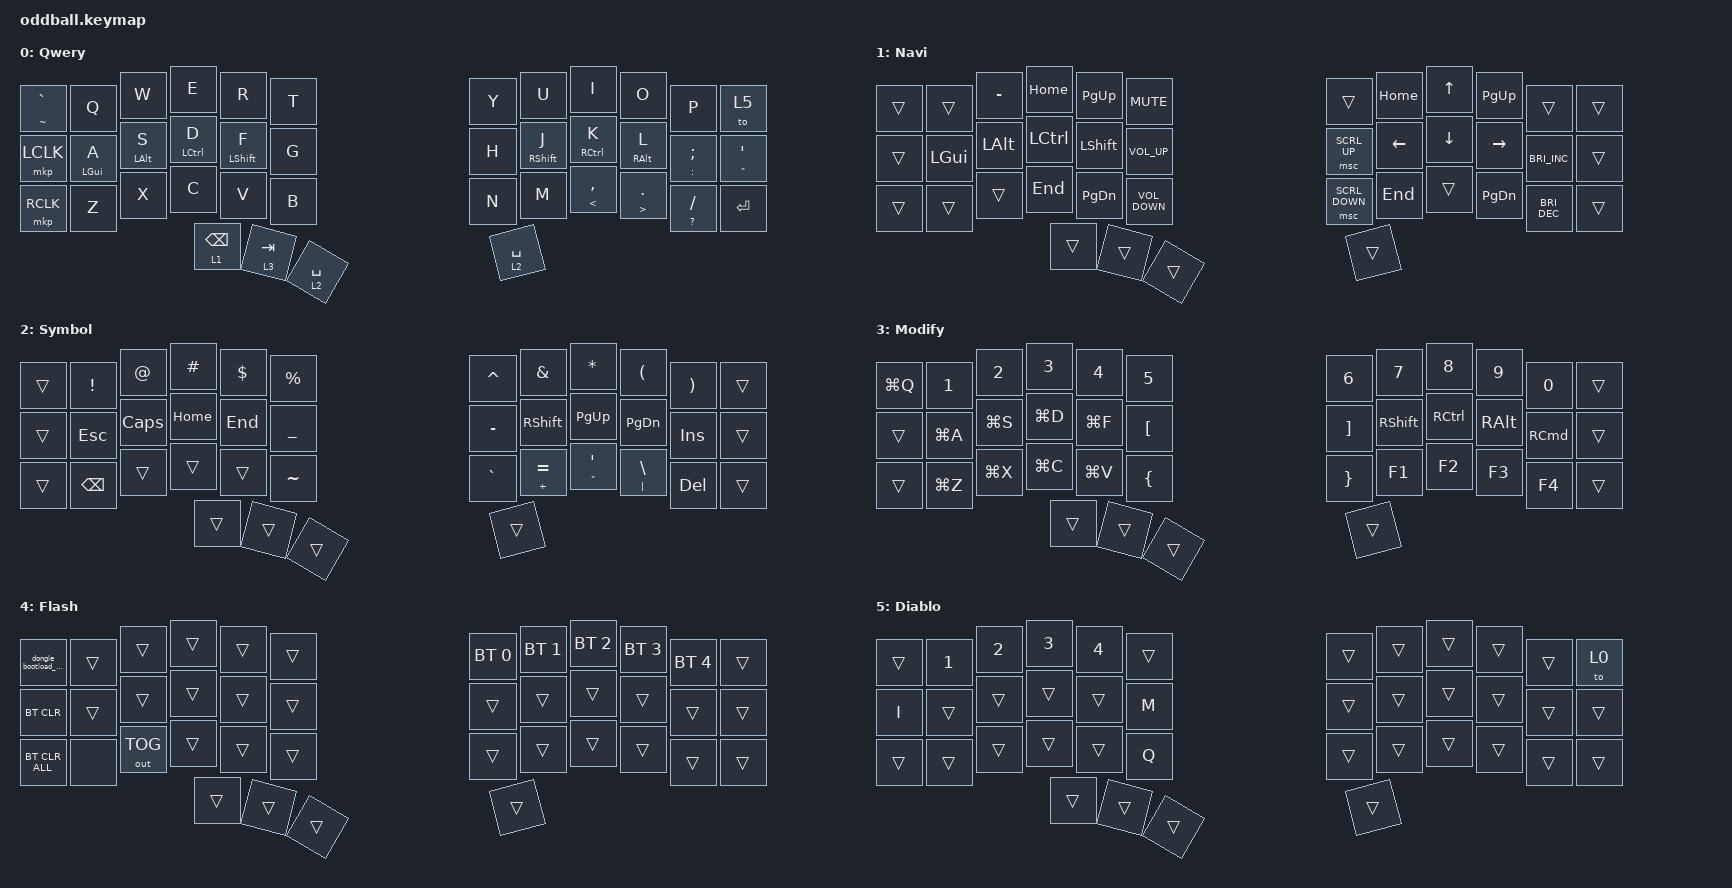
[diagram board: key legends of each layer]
#include <behaviors.dtsi>
#include <dt-bindings/zmk/bt.h>
#include <dt-bindings/zmk/keys.h>
#include <dt-bindings/zmk/pointing.h>
#include <dt-bindings/zmk/outputs.h>

&lt {
    tapping-term-ms = <240>;
    flavor = "balanced";
    quick-tap-ms = <150>;
};

&mt {
    global-quick-tap;
    flavor = "tap-preferred";
    tapping-term-ms = <200>;
};

&sk {
    release-after-ms = <2000>;
    quick-release;
};

/ {
    macros {
        dongle_bootload_macro: bootload_macro {
            compatible = "zmk,behavior-macro";
            #binding-cells = <0>;
            bindings = <&bootloader>;
            label = "BOOTLOAD_MACRO";
        };
    };

    combos {
        compatible = "zmk,combos";

        combo_esc {
            timeout-ms = <50>;
            key-positions = <0 1>;
            bindings = <&kp ESC>;
        };

        left_bkt {
            bindings = <&kp LEFT_BRACKET>;
            key-positions = <4 3>;
            timeout-ms = <50>;
        };

        right_bkt {
            bindings = <&kp RIGHT_BRACKET>;
            key-positions = <7 8>;
            timeout-ms = <50>;
        };

        left_par {
            bindings = <&kp LEFT_PARENTHESIS>;
            key-positions = <15 16>;
            timeout-ms = <50>;
        };

        right_par {
            bindings = <&kp RIGHT_PARENTHESIS>;
            key-positions = <19 20>;
            timeout-ms = <50>;
        };

        left_brace {
            bindings = <&kp LEFT_BRACE>;
            key-positions = <27 28>;
            timeout-ms = <50>;
        };

        right_brace {
            bindings = <&kp RIGHT_BRACE>;
            key-positions = <31 32>;
            timeout-ms = <50>;
        };

        bac {
            bindings = <&kp BACKSLASH>;
            key-positions = <5 6>;
            timeout-ms = <50>;
        };

        pipe {
            bindings = <&kp PIPE>;
            key-positions = <17 18>;
            timeout-ms = <50>;
        };

        middle_btn {
            bindings = <&mkp MCLK>;
            key-positions = <12 24>;
        };
    };

    behaviors {
        hm: homerow_mods {
            compatible = "zmk,behavior-hold-tap";
            label = "HOMEROW_MODS";
            bindings = <&kp>, <&kp>;

            #binding-cells = <2>;
            tapping-term-ms = <200>;
            quick-tap-ms = <180>;
            flavor = "tap-preferred";
        };

        ltq: ltq {
            compatible = "zmk,behavior-hold-tap";
            label = "LTQ";
            bindings = <&mo>, <&kp>;

            #binding-cells = <2>;
            tapping-term-ms = <200>;
            quick-tap-ms = <180>;
        };

        as: auto_shift {
            compatible = "zmk,behavior-hold-tap";
            label = "AUTO_SHIFT";
            bindings = <&kp>, <&kp>;

            #binding-cells = <2>;
            tapping-term-ms = <135>;
            quick-tap-ms = <0>;
        };
    };

    keymap {
        compatible = "zmk,keymap";

        Qwery {
            label = "Qwery";
            bindings = <
&as TILDE GRAVE  &kp Q           &kp W           &kp E               &kp R             &kp T           &kp Y  &kp U              &kp I                &kp O                    &kp P                &to 5
&mkp LCLK        &hm LEFT_GUI A  &hm LEFT_ALT S  &hm LEFT_CONTROL D  &hm LEFT_SHIFT F  &kp G           &kp H  &hm RIGHT_SHIFT J  &hm RIGHT_CONTROL K  &hm RIGHT_ALT L          &as COLON SEMICOLON  &as DOUBLE_QUOTES SINGLE_QUOTE
&mkp RCLK        &kp Z           &kp X           &kp C               &kp V             &kp B           &kp N  &kp M              &as LESS_THAN COMMA  &as GREATER_THAN PERIOD  &as QUESTION SLASH   &kp ENTER
                                                 &ltq 1 BACKSPACE    &ltq 3 TAB        &ltq 2 SPACE                              &ltq 2 SPACE
            >;
        };

        Navi {
            label = "Navi";
            bindings = <
&trans  &trans        &kp MINUS     &kp HOME          &kp PAGE_UP     &kp K_MUTE           &trans          &kp HOME        &kp UP_ARROW    &kp PAGE_UP      &trans                &trans
&trans  &kp LEFT_GUI  &kp LEFT_ALT  &kp LEFT_CONTROL  &kp LEFT_SHIFT  &kp C_VOLUME_UP      &msc SCRL_UP    &kp LEFT_ARROW  &kp DOWN_ARROW  &kp RIGHT_ARROW  &kp C_BRIGHTNESS_INC  &trans
&trans  &trans        &trans        &kp END           &kp PAGE_DOWN   &kp C_VOLUME_DOWN    &msc SCRL_DOWN  &kp END         &trans          &kp PAGE_DOWN    &kp C_BRIGHTNESS_DEC  &trans
                                    &trans            &trans          &trans                                               &trans
            >;
        };

        Symbol {
            label = "Symbol";
            bindings = <
&trans  &kp EXCL       &kp AT        &kp HASH  &kp DLLR  &kp PRCNT         &kp CARET  &kp AMPS         &kp ASTERISK                    &kp LPAR            &kp RPAR    &trans
&trans  &kp ESCAPE     &kp CAPSLOCK  &kp HOME  &kp END   &kp UNDERSCORE    &kp MINUS  &kp RIGHT_SHIFT  &kp PAGE_UP                     &kp PAGE_DOWN       &kp INSERT  &trans
&trans  &kp BACKSPACE  &trans        &trans    &trans    &kp TILDE         &kp GRAVE  &as PLUS EQUAL   &as DOUBLE_QUOTES SINGLE_QUOTE  &as PIPE BACKSLASH  &kp DELETE  &trans
                                     &trans    &trans    &trans                                        &trans
            >;
        };

        Modify {
            label = "Modify";
            bindings = <
&kp LG(Q)  &kp NUMBER_1  &kp NUMBER_2  &kp NUMBER_3  &kp NUMBER_4  &kp NUMBER_5        &kp NUMBER_6       &kp NUMBER_7     &kp NUMBER_8       &kp NUMBER_9   &kp NUMBER_0       &trans
&trans     &kp LG(A)     &kp LG(S)     &kp LG(D)     &kp LG(F)     &kp LEFT_BRACKET    &kp RIGHT_BRACKET  &kp RIGHT_SHIFT  &kp RIGHT_CONTROL  &kp RIGHT_ALT  &kp RIGHT_COMMAND  &trans
&trans     &kp LG(Z)     &kp LG(X)     &kp LG(C)     &kp LG(V)     &kp LEFT_BRACE      &kp RIGHT_BRACE    &kp F1           &kp F2             &kp F3         &kp F4             &trans
                                       &trans        &trans        &trans                                                  &trans
            >;
        };

        Flash {
            label = "Flash";
            bindings = <
&dongle_bootload_macro  &trans  &trans        &trans  &trans  &trans    &bt BT_SEL 0  &bt BT_SEL 1  &bt BT_SEL 2  &bt BT_SEL 3  &bt BT_SEL 4  &trans
&bt BT_CLR              &trans  &trans        &trans  &trans  &trans    &trans        &trans        &trans        &trans        &trans        &trans
&bt BT_CLR_ALL          &none   &out OUT_TOG  &trans  &trans  &trans    &trans        &trans        &trans        &trans        &trans        &trans
                                              &trans  &trans  &trans                                &trans
            >;
        };

        Diablo {
            bindings = <
&trans  &kp NUMBER_1  &kp NUMBER_2  &kp NUMBER_3  &kp NUMBER_4  &trans    &trans  &trans  &trans  &trans  &trans  &to 0
&kp I   &trans        &trans        &trans        &trans        &kp M     &trans  &trans  &trans  &trans  &trans  &trans
&trans  &trans        &trans        &trans        &trans        &kp Q     &trans  &trans  &trans  &trans  &trans  &trans
                                    &trans        &trans        &trans                    &trans
            >;

            label = "Diablo";
        };
    };

    conditional_layers {
        compatible = "zmk,conditional-layers";

        Flash {
            if-layers = <2 3>;
            then-layer = <4>;
        };
    };
};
